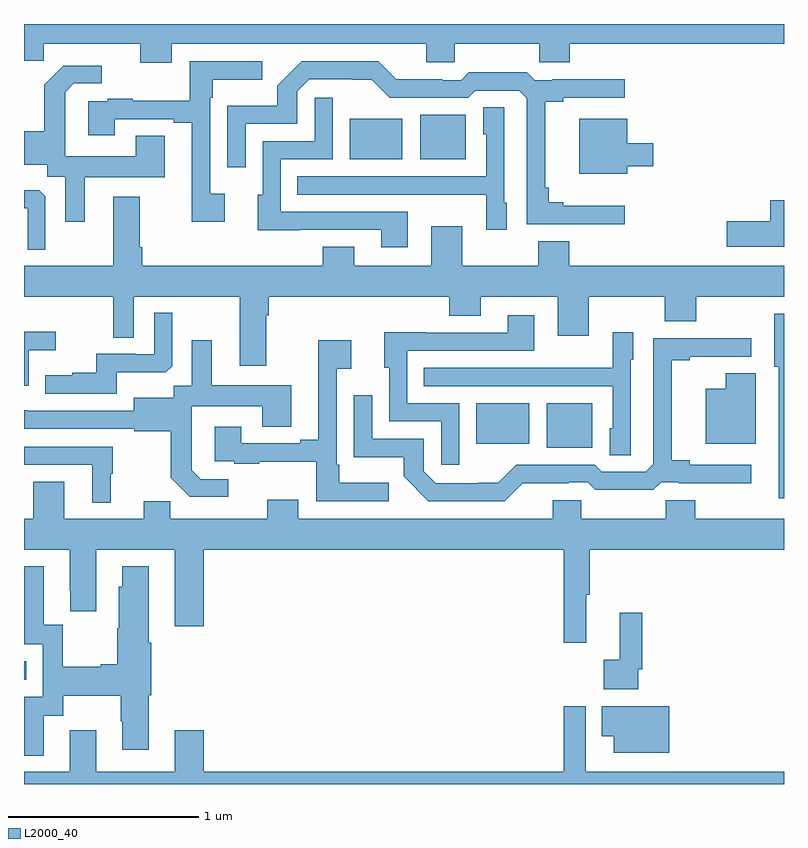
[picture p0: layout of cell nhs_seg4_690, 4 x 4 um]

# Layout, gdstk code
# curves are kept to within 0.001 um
import gdstk
lib = gdstk.Library(unit=1e-6, precision=1e-09)
def R(c, l, rs):  # rectangles x0, y0, x1, y1
    for r in rs: c.add(gdstk.rectangle(r[:2], r[2:], *l))
def P(c, l, *ps):  # polygons
    for p in ps: c.add(gdstk.Polygon(p, *l))
L2000_40 = (2000, 40)

nhs_seg4_690 = lib.new_cell('nhs_seg4_690')
R(nhs_seg4_690, L2000_40, [(145,817.449,145.013,817.545), (147.752,818.669,147.991,818.905), (147.38,818.69,147.658,818.905), (146.714,820.187,146.992,820.402), (147.086,820.187,147.325,820.423)])
P(nhs_seg4_690, L2000_40, [(145,820.706),(145.103,820.706),(145.103,820.796),(145.613,820.796),(145.613,820.697),(145.777,820.697),(145.777,820.796),(147.116,820.796),(147.116,820.698),(147.267,820.698),(147.267,820.796),(147.712,820.796),(147.712,820.698),(147.872,820.698),(147.872,820.796),(149,820.796),(149,820.9),(145,820.9)],
  [(148.162,819.943),(147.838,819.943),(147.838,819.962),(147.761,819.962),(147.761,820.039),(147.743,820.039),(147.743,820.49),(147.838,820.49),(147.838,820.512),(148.162,820.512),(148.162,820.61),(147.781,820.61),(147.781,820.605),(147.687,820.605),(147.647,820.645),(147.34,820.645),(147.3,820.605),(147.2,820.605),(147.2,820.61),(146.96,820.61),(146.865,820.704),(146.462,820.704),(146.332,820.574),(146.332,820.471),(146.07,820.471),(146.07,820.146),(146.166,820.146),(146.166,820.374),(146.439,820.374),(146.439,820.545),(146.502,820.608),(146.831,820.607),(146.925,820.512),(147.339,820.512),(147.375,820.548),(147.606,820.548),(147.645,820.509),(147.645,819.846),(148.162,819.846)],
  [(146.056,820.006),(145.98,820.006),(145.98,820.511),(145.993,820.511),(145.993,820.607),(146.254,820.607),(146.254,820.704),(145.872,820.704),(145.872,820.496),(145.573,820.496),(145.573,820.507),(145.441,820.507),(145.441,820.494),(145.337,820.494),(145.337,820.314),(145.477,820.314),(145.477,820.398),(145.787,820.398),(145.787,820.38),(145.883,820.38),(145.883,819.858),(146.056,819.858)],
  [(145.321,820.094),(145.741,820.094),(145.741,820.313),(145.589,820.313),(145.589,820.204),(145.218,820.204),(145.218,820.445),(145.216,820.445),(145.216,820.54),(145.263,820.587),(145.408,820.587),(145.408,820.681),(145.207,820.681),(145.107,820.581),(145.107,820.336),(145,820.336),(145,820.16),(145.122,820.16),(145.122,820.096),(145.217,820.096),(145.217,819.858),(145.321,819.858)],
  [(147.019,819.912),(146.352,819.912),(146.352,820.188),(146.625,820.188),(146.625,820.513),(146.529,820.513),(146.529,820.284),(146.256,820.284),(146.256,820.002),(146.231,820.002),(146.231,819.815),(146.449,819.815),(146.449,819.816),(146.879,819.816),(146.879,819.726),(147.019,819.726)],
  [(147.541,819.96),(147.528,819.96),(147.528,820.463),(147.416,820.463),(147.416,820.32),(147.432,820.32),(147.432,820.098),(146.437,820.098),(146.437,820.002),(147.115,820.002),(147.115,820.001),(147.432,820.001),(147.432,819.816),(147.541,819.816)],
  [(148.174,820.151),(148.312,820.151),(148.312,820.273),(148.174,820.273),(148.174,820.402),(147.923,820.402),(147.923,820.112),(148.174,820.112)],
  [(145.113,819.993),(145.081,820.025),(145,820.025),(145,819.93),(145.02,819.93),(145.02,819.713),(145.113,819.713)],
  [(146.275,819.368),(146.288,819.368),(146.288,819.464),(147.239,819.464),(147.239,819.365),(147.403,819.365),(147.403,819.464),(147.809,819.464),(147.809,819.258),(147.973,819.258),(147.973,819.464),(148.373,819.464),(148.373,819.336),(148.537,819.336),(148.537,819.464),(149,819.464),(149,819.628),(147.871,819.628),(147.871,819.757),(147.707,819.757),(147.707,819.628),(147.307,819.628),(147.307,819.835),(147.143,819.835),(147.143,819.628),(146.737,819.628),(146.737,819.727),(146.573,819.727),(146.573,819.628),(145.622,819.628),(145.622,819.724),(145.609,819.724),(145.609,819.991),(145.469,819.991),(145.469,819.628),(145,819.628),(145,819.464),(145.47,819.464),(145.47,819.25),(145.578,819.25),(145.578,819.464),(146.135,819.464),(146.135,819.102),(146.275,819.102)],
  [(149,819.973),(148.928,819.973),(148.928,819.863),(148.698,819.863),(148.698,819.728),(149,819.728)],
  [(145.489,819.068),(145.747,819.068),(145.779,819.099),(145.779,819.379),(145.686,819.379),(145.686,819.162),(145.586,819.162),(145.586,819.165),(145.379,819.165),(145.379,819.064),(145.255,819.064),(145.255,819.052),(145.111,819.052),(145.111,818.955),(145.489,818.955)],
  [(149,819.376),(148.949,819.376),(148.949,819.096),(148.973,819.096),(148.973,818.403),(149,818.403)],
  [(147.291,818.904),(147.018,818.904),(147.018,819.18),(147.685,819.18),(147.685,819.367),(147.545,819.367),(147.545,819.276),(147.115,819.276),(147.115,819.278),(146.897,819.278),(146.897,819.09),(146.922,819.09),(146.922,818.808),(147.195,818.808),(147.195,818.58),(147.291,818.58)],
  [(145.026,819.182),(145.168,819.182),(145.168,819.281),(145,819.281),(145,818.997),(145.026,818.997)],
  [(148.194,819.132),(148.207,819.132),(148.207,819.277),(148.098,819.277),(148.098,819.091),(147.781,819.091),(147.781,819.09),(147.103,819.09),(147.103,818.994),(148.098,818.994),(148.098,818.772),(148.082,818.772),(148.082,818.629),(148.194,818.629)],
  [(147.626,818.483),(147.866,818.483),(147.866,818.487),(147.966,818.487),(148.006,818.448),(148.313,818.448),(148.353,818.487),(148.447,818.487),(148.447,818.483),(148.828,818.483),(148.828,818.58),(148.504,818.58),(148.504,818.603),(148.409,818.603),(148.409,819.13),(148.504,819.13),(148.504,819.15),(148.828,819.15),(148.828,819.246),(148.311,819.246),(148.311,818.583),(148.272,818.544),(148.041,818.544),(148.005,818.58),(147.591,818.58),(147.497,818.486),(147.392,818.486),(147.392,818.484),(147.168,818.484),(147.105,818.547),(147.105,818.718),(146.832,818.718),(146.832,818.947),(146.736,818.947),(146.736,818.621),(146.998,818.621),(146.998,818.519),(147.128,818.388),(147.531,818.388)],
  [(146.074,818.505),(145.929,818.505),(145.882,818.552),(145.882,818.647),(145.884,818.647),(145.884,818.888),(146.255,818.888),(146.255,818.779),(146.407,818.779),(146.407,818.998),(145.987,818.998),(145.987,819.235),(145.883,819.235),(145.883,818.996),(145.788,818.996),(145.788,818.932),(145.577,818.932),(145.577,818.865),(145,818.866),(145,818.769),(145.581,818.769),(145.581,818.757),(145.773,818.757),(145.773,818.511),(145.873,818.411),(146.074,818.411)],
  [(146.92,818.485),(146.659,818.485),(146.659,818.581),(146.646,818.581),(146.646,819.086),(146.722,819.086),(146.722,819.235),(146.549,819.235),(146.549,818.713),(146.453,818.713),(146.453,818.694),(146.143,818.694),(146.143,818.779),(146.003,818.779),(146.003,818.598),(146.107,818.598),(146.107,818.586),(146.239,818.586),(146.239,818.597),(146.538,818.597),(146.538,818.388),(146.92,818.388)],
  [(148.852,819.061),(148.694,819.061),(148.694,818.98),(148.589,818.98),(148.589,818.69),(148.852,818.69)],
  [(145.456,818.532),(145.468,818.532),(145.468,818.676),(145,818.676),(145,818.58),(145.358,818.58),(145.358,818.381),(145.456,818.381)],
  [(147.959,817.896),(147.977,817.896),(147.977,818.132),(149,818.132),(149,818.296),(148.533,818.296),(148.533,818.394),(148.378,818.394),(148.378,818.296),(147.933,818.296),(147.933,818.394),(147.782,818.394),(147.782,818.296),(146.443,818.296),(146.443,818.395),(146.279,818.395),(146.279,818.296),(145.769,818.296),(145.769,818.387),(145.631,818.387),(145.631,818.296),(145.213,818.296),(145.213,818.491),(145.049,818.491),(145.049,818.296),(145,818.296),(145,818.132),(145.241,818.132),(145.241,817.921),(145.244,817.921),(145.244,817.809),(145.381,817.809),(145.381,818.132),(145.793,818.132),(145.793,817.731),(145.946,817.731),(145.946,818.132),(147.841,818.132),(147.841,817.644),(147.959,817.644)],
  [(145.105,817.258),(145.207,817.258),(145.207,817.364),(145.51,817.364),(145.51,817.23),(145.517,817.23),(145.517,817.08),(145.657,817.08),(145.657,817.368),(145.67,817.368),(145.67,817.643),(145.657,817.643),(145.657,818.047),(145.517,818.047),(145.517,817.938),(145.499,817.938),(145.499,817.721),(145.492,817.721),(145.492,817.529),(145.403,817.529),(145.403,817.516),(145.203,817.516),(145.203,817.739),(145.105,817.739),(145.105,818.047),(145,818.047),(145,817.635),(145.098,817.635),(145.098,817.359),(145,817.359),(145,817.05),(145.105,817.05)],
  [(148.233,817.504),(148.253,817.504),(148.253,817.801),(148.136,817.801),(148.136,817.553),(148.05,817.553),(148.05,817.4),(148.233,817.4)],
  [(149,816.964),(147.957,816.964),(147.957,817.309),(147.841,817.309),(147.841,816.964),(145.946,816.964),(145.946,817.183),(145.793,817.183),(145.793,816.964),(145.381,816.964),(145.381,817.183),(145.241,817.183),(145.241,816.964),(145,816.964),(145,816.9),(149,816.9)],
  [(148.396,817.309),(148.042,817.309),(148.042,817.151),(148.103,817.151),(148.103,817.064),(148.396,817.064)])

lib.write_gds('nhs_seg4_690.gds')
